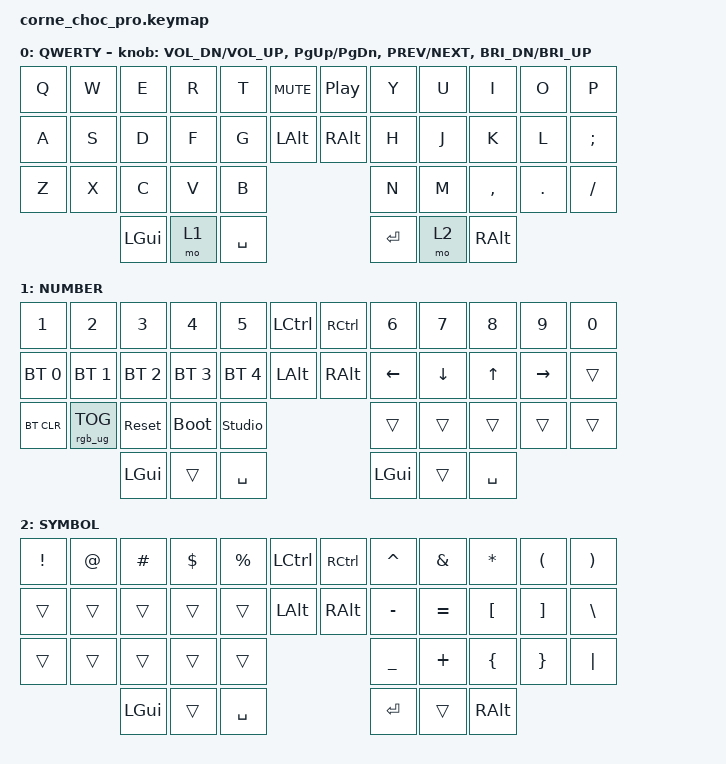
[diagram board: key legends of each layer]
/*
 * Copyright (c) 2020 The ZMK Contributors
 *
 * SPDX-License-Identifier: MIT
 */

#include <behaviors.dtsi>
#include <dt-bindings/zmk/keys.h>
#include <dt-bindings/zmk/bt.h>
#include <dt-bindings/zmk/rgb.h>

/ {
    chosen {
        zmk,physical-layout = &five_col_layout;
    };
};

/ {
    keymap {
        compatible = "zmk,keymap";

        default_layer {
            display-name = "QWERTY";
            // --------------------------------------------------------------------------------
            // |  Q  |  W  |  E  |  R  |  T  |  MUTE |  PP   |  Y  |  U   |  I  |  O  |  P  |
            // |  A  |  S  |  D  |  F  |  G  |  LALT |  RALT |  H  |  J   |  K  |  L  |  ;  |
            // |  Z  |  X  |  C  |  V  |  B  |               |  N  |  M   |  ,  |  .  |  /  |
            //                    | GUI | LWR | SPC |               | ENT | RSE  | ALT |
            bindings = <
                &kp Q &kp W &kp E &kp R &kp T &kp C_MUTE &kp C_PP &kp Y &kp U  &kp I     &kp O   &kp P   
                &kp A &kp S &kp D &kp F &kp G &kp LALT   &kp RALT &kp H &kp J  &kp K     &kp L   &kp SEMI
                &kp Z &kp X &kp C &kp V &kp B                     &kp N &kp M  &kp COMMA &kp DOT &kp FSLH
                            &kp LGUI &mo 1 &kp SPACE              &kp RET &mo 2 &kp RALT
            >;
            sensor-bindings = <&inc_dec_kp C_VOL_DN C_VOL_UP &inc_dec_kp PG_UP PG_DN &inc_dec_kp C_PREV C_NEXT &inc_dec_kp C_BRI_DN C_BRI_UP>;
        };

        lower_layer {
            display-name = "NUMBER";
            // -----------------------------------------------------------------------------------------
            // |  1  |  2  |  3  |  4  |  5    |  LCTRL | RCTRL |  6  |  7  |  8  |  9  |  0  |
            // | BT1 | BT2 | BT3 | BT4 | BT5   |  LALT  | RALT  | LFT | DWN |  UP | RGT |     |
            // | BTCR| RGB | RST | BOOT| Unlock|        |       |     |     |     |     |     |
            //                    | GUI |     | SPC   |        | ENT   |     | ALT |
            bindings = <
                &kp N1       &kp N2          &kp N3       &kp N4       &kp N5       &kp LCTRL &kp RCTRL &kp N6   &kp N7   &kp N8 &kp N9    &kp N0
                &bt BT_SEL 0 &bt BT_SEL 1    &bt BT_SEL 2 &bt BT_SEL 3 &bt BT_SEL 4 &kp LALT  &kp RALT  &kp LEFT &kp DOWN &kp UP &kp RIGHT &trans
                &bt BT_CLR   &rgb_ug RGB_TOG &sys_reset   &bootloader  &studio_unlock                   &trans   &trans   &trans &trans    &trans
                                             &kp LGUI     &trans       &kp SPACE                        &kp LGUI &trans   &kp SPACE
            >;
        };

        raise_layer {
            display-name = "SYMBOL";
            // -----------------------------------------------------------------------------------------
            // |  !  |  @  |  #  |  $  |  %  | LCTRL | RCTRL |  ^  |  &  |  *  |  (  |  )  |
            // |     |     |     |     |     |  LALT | RALT  |  -  |  =  |  [  |  ]  |  \  |
            // |     |     |     |     |     |               |  _  |  +  |  {  |  }  | "|" |
            //                    | GUI |     | SPC |               | ENT |     | ALT |
            bindings = <
                &kp EXCL &kp AT &kp HASH &kp DLLR &kp PRCNT &kp LCTRL &kp RCTRL &kp CARET &kp AMPS &kp ASTRK &kp LPAR &kp RPAR
                &trans   &trans &trans   &trans   &trans    &kp LALT  &kp RALT  &kp MINUS &kp EQUAL &kp LBKT &kp RBKT &kp BSLH
                &trans   &trans &trans   &trans   &trans                        &kp UNDER &kp PLUS  &kp LBRC &kp RBRC &kp PIPE
                                &kp LGUI &trans   &kp SPACE                     &kp RET   &trans    &kp RALT
            >;
        };
    };
};
